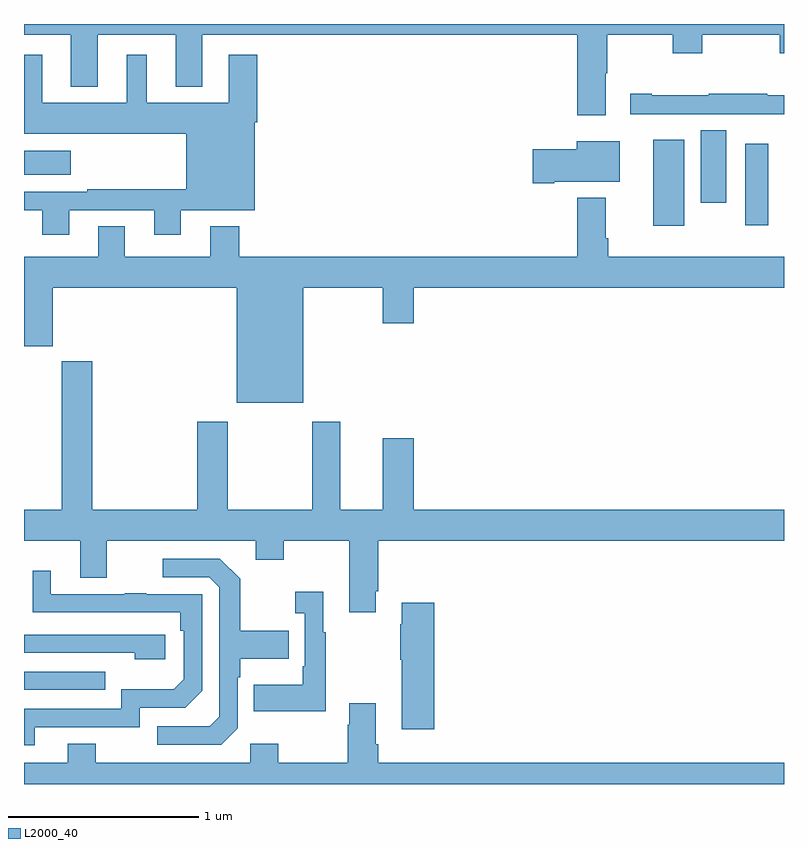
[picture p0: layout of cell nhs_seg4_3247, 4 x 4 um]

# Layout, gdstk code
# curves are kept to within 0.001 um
import gdstk
lib = gdstk.Library(unit=1e-6, precision=1e-09)
def R(c, l, rs):  # rectangles x0, y0, x1, y1
    for r in rs: c.add(gdstk.rectangle(r[:2], r[2:], *l))
def P(c, l, *ps):  # polygons
    for p in ps: c.add(gdstk.Polygon(p, *l))
L2000_40 = (2000, 40)

nhs_seg4_3247 = lib.new_cell('nhs_seg4_3247')
R(nhs_seg4_3247, L2000_40, [(283,769.395,283.427,769.491), (286.313,771.837,286.474,772.291), (286.796,771.84,286.918,772.27), (286.562,771.96,286.696,772.34), (283,772.106,283.246,772.234)])
P(nhs_seg4_3247, L2000_40, [(283,772.844),(283.247,772.844),(283.247,772.571),(283.387,772.571),(283.387,772.844),(283.799,772.844),(283.799,772.571),(283.939,772.571),(283.939,772.844),(285.911,772.844),(285.911,772.419),(286.063,772.419),(286.063,772.64),(286.071,772.64),(286.071,772.844),(286.414,772.844),(286.414,772.745),(286.569,772.745),(286.569,772.844),(286.978,772.844),(286.978,772.745),(287,772.745),(287,772.9),(283,772.9)],
  [(283.237,771.921),(283.685,771.921),(283.685,771.792),(283.825,771.792),(283.825,771.92),(284.215,771.92),(284.215,772.382),(284.228,772.382),(284.228,772.738),(284.078,772.738),(284.078,772.486),(283.645,772.486),(283.645,772.738),(283.541,772.738),(283.541,772.486),(283.096,772.486),(283.096,772.738),(283,772.738),(283,772.322),(283.853,772.322),(283.853,772.03),(283.333,772.03),(283.333,772.017),(283,772.017),(283,771.921),(283.097,771.921),(283.097,771.792),(283.237,771.792)],
  [(286.466,772.425),(286.8,772.425),(286.8,772.424),(287,772.424),(287,772.524),(286.913,772.524),(286.913,772.534),(286.603,772.534),(286.603,772.524),(286.303,772.524),(286.303,772.534),(286.191,772.534),(286.191,772.424),(286.466,772.424)],
  [(285.79,772.07),(286.135,772.07),(286.135,772.282),(285.908,772.282),(285.908,772.241),(285.678,772.241),(285.678,772.063),(285.79,772.063)],
  [(284.47,771.512),(284.888,771.512),(284.888,771.324),(285.052,771.324),(285.052,771.512),(287,771.512),(287,771.676),(286.076,771.676),(286.076,771.772),(286.063,771.772),(286.063,771.985),(285.911,771.985),(285.911,771.676),(284.132,771.676),(284.132,771.835),(283.979,771.835),(283.979,771.676),(283.531,771.676),(283.531,771.836),(283.391,771.836),(283.391,771.676),(283,771.676),(283,771.203),(283.15,771.203),(283.15,771.512),(284.12,771.512),(284.12,770.906),(284.47,770.906)],
  [(284.851,769.915),(284.864,769.915),(284.864,770.18),(287,770.18),(287,770.344),(285.052,770.344),(285.052,770.719),(284.888,770.719),(284.888,770.344),(284.665,770.344),(284.665,770.806),(284.518,770.806),(284.518,770.344),(284.073,770.344),(284.073,770.806),(283.913,770.806),(283.913,770.344),(283.358,770.344),(283.358,771.124),(283.198,771.124),(283.198,770.344),(283,770.344),(283,770.18),(283.295,770.18),(283.295,769.986),(283.435,769.986),(283.435,770.18),(284.219,770.18),(284.219,770.081),(284.367,770.081),(284.367,770.18),(284.711,770.18),(284.711,769.803),(284.851,769.803)],
  [(284.124,769.194),(284.124,769.463),(284.137,769.463),(284.137,769.559),(284.393,769.559),(284.393,769.707),(284.137,769.707),(284.137,769.979),(284.031,770.085),(283.731,770.085),(283.731,769.989),(283.974,769.989),(284.028,769.935),(284.028,769.254),(283.977,769.203),(283.701,769.203),(283.701,769.107),(284.037,769.107)],
  [(283.057,769.2),(283.608,769.2),(283.608,769.302),(283.848,769.302),(283.938,769.392),(283.938,769.899),(283.643,769.899),(283.643,769.904),(283.531,769.904),(283.531,769.899),(283.141,769.899),(283.141,770.023),(283.045,770.023),(283.045,769.804),(283.822,769.803),(283.822,769.706),(283.842,769.706),(283.842,769.452),(283.789,769.399),(283.512,769.399),(283.512,769.296),(283,769.296),(283,769.104),(283.057,769.104)],
  [(284.587,769.699),(284.575,769.699),(284.575,769.912),(284.427,769.912),(284.427,769.799),(284.478,769.799),(284.478,769.519),(284.466,769.519),(284.466,769.423),(284.209,769.423),(284.209,769.283),(284.587,769.283)],
  [(285.16,769.855),(284.987,769.855),(284.987,769.742),(284.98,769.742),(284.98,769.553),(284.987,769.553),(284.987,769.188),(285.16,769.188)],
  [(283.744,769.686),(283,769.686),(283,769.59),(283.583,769.59),(283.583,769.556),(283.744,769.556)],
  [(287,769.012),(284.864,769.012),(284.864,769.108),(284.851,769.108),(284.851,769.324),(284.711,769.324),(284.711,769.211),(284.704,769.211),(284.704,769.012),(284.337,769.012),(284.337,769.111),(284.19,769.111),(284.19,769.012),(283.377,769.012),(283.377,769.111),(283.229,769.111),(283.229,769.012),(283,769.012),(283,768.9),(287,768.9)])

lib.write_gds('nhs_seg4_3247.gds')
